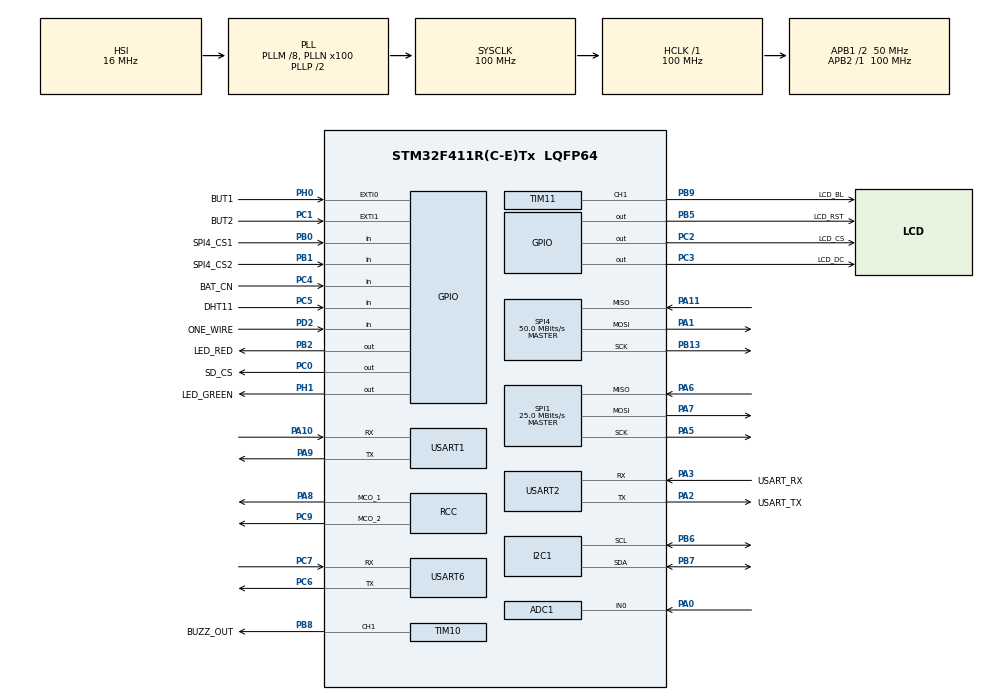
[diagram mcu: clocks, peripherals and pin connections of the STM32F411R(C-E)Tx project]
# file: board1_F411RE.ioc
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ADC1.Channel-0\#ChannelRegularConversion=ADC_CHANNEL_0
ADC1.NbrOfConversionFlag=1
ADC1.Rank-0\#ChannelRegularConversion=1
ADC1.SamplingTime-0\#ChannelRegularConversion=ADC_SAMPLETIME_3CYCLES
ADC1.master=1
FATFS._USE_FIND=1
FATFS._USE_LABEL=1
Mcu.Family=STM32F4
Mcu.Name=STM32F411R(C-E)Tx
Mcu.Package=LQFP64
NVIC.EXTI0_IRQn=true\:0\:0\:false\:false\:true\:true\:true
NVIC.EXTI1_IRQn=true\:0\:0\:false\:false\:true\:true\:true
NVIC.PriorityGroup=NVIC_PRIORITYGROUP_0
NVIC.RTC_Alarm_IRQn=true\:0\:0\:false\:false\:true\:true\:true
NVIC.RTC_WKUP_IRQn=true\:0\:0\:false\:false\:true\:true\:true
NVIC.USART2_IRQn=true\:0\:0\:false\:false\:true\:true\:true
PA0-WKUP.Signal=ADCx_IN0
PA1.Mode=Full_Duplex_Master
PA1.Signal=SPI4_MOSI
PA10.Mode=Asynchronous
PA10.Signal=USART1_RX
PA11.Mode=Full_Duplex_Master
PA11.Signal=SPI4_MISO
PA13.GPIO_Label=TMS
PA13.Mode=Serial_Wire
PA13.Signal=SYS_JTMS-SWDIO
PA14.GPIO_Label=TCK
PA14.Mode=Serial_Wire
PA14.Signal=SYS_JTCK-SWCLK
PA2.GPIO_Label=USART_TX
PA2.Mode=Asynchronous
PA2.Signal=USART2_TX
PA3.GPIO_Label=USART_RX
PA3.Mode=Asynchronous
PA3.Signal=USART2_RX
PA5.Mode=Full_Duplex_Master
PA5.Signal=SPI1_SCK
PA6.Mode=Full_Duplex_Master
PA6.Signal=SPI1_MISO
PA7.Mode=Full_Duplex_Master
PA7.Signal=SPI1_MOSI
PA8.Mode=Clock-out-1
PA8.Signal=RCC_MCO_1
PA9.Mode=Asynchronous
PA9.Signal=USART1_TX
PB0.GPIO_Label=SPI4_CS1
PB0.Signal=GPIO_Input
PB1.GPIO_Label=SPI4_CS2
PB1.Signal=GPIO_Input
PB13.Mode=Full_Duplex_Master
PB13.Signal=SPI4_SCK
PB2.GPIO_Label=LED_RED
PB2.Signal=GPIO_Output
PB3.GPIO_Label=SWO
PB3.Signal=SYS_JTDO-SWO
PB5.GPIO_Label=LCD_RST
PB5.PinState=GPIO_PIN_RESET
PB5.Signal=GPIO_Output
PB6.Mode=I2C
PB6.Signal=I2C1_SCL
PB7.Mode=I2C
PB7.Signal=I2C1_SDA
PB8.GPIO_Label=BUZZ_OUT
PB8.Signal=S_TIM10_CH1
PB9.GPIO_Label=LCD_BL
PB9.Signal=S_TIM11_CH1
PC0.GPIO_Label=SD_CS
PC0.GPIO_Speed=GPIO_SPEED_FREQ_MEDIUM
PC0.PinState=GPIO_PIN_SET
PC0.Signal=GPIO_Output
PC1.GPIO_Label=BUT2
PC1.GPIO_ModeDefaultEXTI=GPIO_MODE_IT_FALLING
PC1.GPIO_PuPd=GPIO_PULLUP
PC1.Signal=GPXTI1
PC14-OSC32_IN.Mode=LSE-External-Oscillator
PC14-OSC32_IN.Signal=RCC_OSC32_IN
PC15-OSC32_OUT.Mode=LSE-External-Oscillator
PC15-OSC32_OUT.Signal=RCC_OSC32_OUT
PC2.GPIO_Label=LCD_CS
PC2.GPIO_Speed=GPIO_SPEED_FREQ_MEDIUM
PC2.PinState=GPIO_PIN_SET
PC2.Signal=GPIO_Output
PC3.GPIO_Label=LCD_DC
PC3.GPIO_Speed=GPIO_SPEED_FREQ_MEDIUM
PC3.Signal=GPIO_Output
PC4.GPIO_Label=BAT_CN
PC4.GPIO_PuPd=GPIO_PULLUP
PC4.Signal=GPIO_Input
PC5.GPIO_Label=DHT11
PC5.Signal=GPIO_Input
PC6.Mode=Asynchronous
PC6.Signal=USART6_TX
PC7.Mode=Asynchronous
PC7.Signal=USART6_RX
PC9.Mode=Clock-out-2
PC9.Signal=RCC_MCO_2
PD2.GPIO_Label=ONE_WIRE
PD2.GPIO_PuPd=GPIO_NOPULL
PD2.Signal=GPIO_Input
PH0\ -\ OSC_IN.GPIO_Label=BUT1
PH0\ -\ OSC_IN.GPIO_ModeDefaultEXTI=GPIO_MODE_IT_FALLING
PH0\ -\ OSC_IN.GPIO_PuPd=GPIO_PULLUP
PH0\ -\ OSC_IN.Signal=GPXTI0
PH1\ -\ OSC_OUT.GPIO_Label=LED_GREEN
PH1\ -\ OSC_OUT.Signal=GPIO_Output
ProjectManager.HeapSize=0x200
ProjectManager.StackSize=0x400
ProjectManager.TargetToolchain=STM32CubeIDE
RCC.48MHZClocksFreq_Value=50000000
RCC.AHBFreq_Value=100000000
RCC.APB1CLKDivider=RCC_HCLK_DIV2
RCC.APB1Freq_Value=50000000
RCC.APB1TimFreq_Value=100000000
RCC.APB2Freq_Value=100000000
RCC.APB2TimFreq_Value=100000000
RCC.CortexFreq_Value=100000000
RCC.FLatency-AdvancedSettings=FLASH_LATENCY_3
RCC.HCLKFreq_Value=100000000
RCC.HSE_VALUE=8000000
RCC.HSI_VALUE=16000000
RCC.PLLM=8
RCC.PLLN=100
RCC.RCC_MCO1Source=RCC_MCO1SOURCE_LSE
RCC.RCC_MCODiv2=RCC_MCODIV_5
RCC.RCC_RTC_Clock_Source=RCC_RTCCLKSOURCE_LSE
RCC.RCC_RTC_Clock_SourceVirtual=RCC_RTCCLKSOURCE_LSE
RCC.SYSCLKFreq_VALUE=100000000
RCC.SYSCLKSource=RCC_SYSCLKSOURCE_PLLCLK
RCC.VCOOutputFreq_Value=200000000
RTC.Alarm=RTC_ALARM_A
RTC.Alarm_B=RTC_ALARM_B
RTC.Minutes_B=0
RTC.WakeUpClock=RTC_WAKEUPCLOCK_CK_SPRE_16BITS
RTC.WakeUpCounter=60
SH.ADCx_IN0.0=ADC1_IN0,IN0
SH.S_TIM10_CH1.0=TIM10_CH1,PWM Generation1 CH1
SH.S_TIM11_CH1.0=TIM11_CH1,PWM Generation1 CH1
SPI1.BaudRatePrescaler=SPI_BAUDRATEPRESCALER_4
SPI1.CalculateBaudRate=25.0 MBits/s
SPI1.Direction=SPI_DIRECTION_2LINES
SPI1.Mode=SPI_MODE_MASTER
SPI1.VirtualType=VM_MASTER
SPI4.CalculateBaudRate=50.0 MBits/s
SPI4.Direction=SPI_DIRECTION_2LINES
SPI4.Mode=SPI_MODE_MASTER
SPI4.VirtualType=VM_MASTER
TIM10.AutoReloadPreload=TIM_AUTORELOAD_PRELOAD_ENABLE
TIM10.Channel=TIM_CHANNEL_1
TIM10.OCFastMode_PWM=TIM_OCFAST_DISABLE
TIM10.OCMode_PWM=TIM_OCMODE_PWM1
TIM10.Period=100
TIM10.Prescaler=1000
TIM10.Pulse=50
TIM11.AutoReloadPreload=TIM_AUTORELOAD_PRELOAD_ENABLE
TIM11.Channel=TIM_CHANNEL_1
TIM11.Period=100
TIM11.Prescaler=10000
TIM11.Pulse=101
USART1.VirtualMode=VM_ASYNC
USART2.VirtualMode=VM_ASYNC
USART6.VirtualMode=VM_ASYNC
VP_FATFS_VS_Generic.Mode=User_defined
VP_LIBJPEG_VS_JPEGLIB.Mode=Enabled
VP_RTC_VS_RTC_Activate.Mode=RTC_Enabled
VP_RTC_VS_RTC_Alarm_A_Intern.Mode=Alarm A
VP_RTC_VS_RTC_Alarm_B_Intern.Mode=Alarm B
VP_RTC_VS_RTC_Calendar.Mode=RTC_Calendar
VP_RTC_VS_RTC_WakeUp_intern.Mode=WakeUp
VP_TIM10_VS_ClockSourceINT.Mode=Enable_Timer
VP_TIM11_VS_ClockSourceINT.Mode=Enable_Timer
board=NUCLEO-F411RE

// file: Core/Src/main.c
/* USER CODE BEGIN Header */
/**
  ******************************************************************************
  * @file           : main.c
  * @brief          : Main program body
  ******************************************************************************
  * @attention
  *
  * <h2><center>&copy; Copyright (c) 2019 STMicroelectronics.
  * All rights reserved.</center></h2>
  *
  * This software component is licensed by ST under BSD 3-Clause license,
  * the "License"; You may not use this file except in compliance with the
  * License. You may obtain a copy of the License at:
  *                        opensource.org/licenses/BSD-3-Clause
  *
  ******************************************************************************
  */
/* USER CODE END Header */

#include "main.h"
#include "fatfs.h"
#include "libjpeg.h"

/* USER CODE BEGIN Includes */
#include "user_main.h"
/* USER CODE END Includes */

ADC_HandleTypeDef hadc1;

I2C_HandleTypeDef hi2c1;

RTC_HandleTypeDef hrtc;

SPI_HandleTypeDef hspi1;
SPI_HandleTypeDef hspi4;

TIM_HandleTypeDef htim10;
TIM_HandleTypeDef htim11;

UART_HandleTypeDef huart1;
UART_HandleTypeDef huart2;
UART_HandleTypeDef huart6;

void SystemClock_Config(void);
static void MX_GPIO_Init(void);
static void MX_USART2_UART_Init(void);
static void MX_ADC1_Init(void);
static void MX_I2C1_Init(void);
static void MX_RTC_Init(void);
static void MX_SPI1_Init(void);
static void MX_SPI4_Init(void);
static void MX_TIM10_Init(void);
static void MX_USART1_UART_Init(void);
static void MX_USART6_UART_Init(void);
static void MX_TIM11_Init(void);

int main(void)
{

  /* MCU Configuration--------------------------------------------------------*/

  /* Reset of all peripherals, Initializes the Flash interface and the Systick. */
  HAL_Init();

  /* Configure the system clock */
  SystemClock_Config();

  /* Initialize all configured peripherals */
  MX_GPIO_Init();
  MX_USART2_UART_Init();
  MX_ADC1_Init();
  MX_I2C1_Init();
  MX_RTC_Init();
  MX_SPI1_Init();
  MX_SPI4_Init();
  MX_TIM10_Init();
  MX_USART1_UART_Init();
  MX_USART6_UART_Init();
  MX_TIM11_Init();
  MX_FATFS_Init();
  MX_LIBJPEG_Init();

  /* Infinite loop */
  /* USER CODE BEGIN WHILE */
  main_init();
  while (1)
  {
	  main_loop();
    /* USER CODE END WHILE */

  }
}

void SystemClock_Config(void)
{
  RCC_OscInitTypeDef RCC_OscInitStruct = {0};
  RCC_ClkInitTypeDef RCC_ClkInitStruct = {0};
  RCC_PeriphCLKInitTypeDef PeriphClkInitStruct = {0};

  /** Configure the main internal regulator output voltage
  */
  __HAL_RCC_PWR_CLK_ENABLE();
  __HAL_PWR_VOLTAGESCALING_CONFIG(PWR_REGULATOR_VOLTAGE_SCALE1);
  /** Initializes the CPU, AHB and APB busses clocks
  */
  RCC_OscInitStruct.OscillatorType = RCC_OSCILLATORTYPE_HSI|RCC_OSCILLATORTYPE_LSE;
  RCC_OscInitStruct.LSEState = RCC_LSE_ON;
  RCC_OscInitStruct.HSIState = RCC_HSI_ON;
  RCC_OscInitStruct.HSICalibrationValue = RCC_HSICALIBRATION_DEFAULT;
  RCC_OscInitStruct.PLL.PLLState = RCC_PLL_ON;
  RCC_OscInitStruct.PLL.PLLSource = RCC_PLLSOURCE_HSI;
  RCC_OscInitStruct.PLL.PLLM = 8;
  RCC_OscInitStruct.PLL.PLLN = 100;
  RCC_OscInitStruct.PLL.PLLP = RCC_PLLP_DIV2;
  RCC_OscInitStruct.PLL.PLLQ = 4;
  if (HAL_RCC_OscConfig(&RCC_OscInitStruct) != HAL_OK)
  {
    Error_Handler();
  }
  /** Initializes the CPU, AHB and APB busses clocks
  */
  RCC_ClkInitStruct.ClockType = RCC_CLOCKTYPE_HCLK|RCC_CLOCKTYPE_SYSCLK
                              |RCC_CLOCKTYPE_PCLK1|RCC_CLOCKTYPE_PCLK2;
  RCC_ClkInitStruct.SYSCLKSource = RCC_SYSCLKSOURCE_PLLCLK;
  RCC_ClkInitStruct.AHBCLKDivider = RCC_SYSCLK_DIV1;
  RCC_ClkInitStruct.APB1CLKDivider = RCC_HCLK_DIV2;
  RCC_ClkInitStruct.APB2CLKDivider = RCC_HCLK_DIV1;

  if (HAL_RCC_ClockConfig(&RCC_ClkInitStruct, FLASH_LATENCY_3) != HAL_OK)
  {
    Error_Handler();
  }
  PeriphClkInitStruct.PeriphClockSelection = RCC_PERIPHCLK_RTC;
  PeriphClkInitStruct.RTCClockSelection = RCC_RTCCLKSOURCE_LSE;
  if (HAL_RCCEx_PeriphCLKConfig(&PeriphClkInitStruct) != HAL_OK)
  {
    Error_Handler();
  }
  HAL_RCC_MCOConfig(RCC_MCO1, RCC_MCO1SOURCE_LSE, RCC_MCODIV_1);
  HAL_RCC_MCOConfig(RCC_MCO2, RCC_MCO2SOURCE_SYSCLK, RCC_MCODIV_5);
}

static void MX_ADC1_Init(void)
{

  ADC_ChannelConfTypeDef sConfig = {0};

  /** Configure the global features of the ADC (Clock, Resolution, Data Alignment and number of conversion)
  */
  hadc1.Instance = ADC1;
  hadc1.Init.ClockPrescaler = ADC_CLOCK_SYNC_PCLK_DIV4;
  hadc1.Init.Resolution = ADC_RESOLUTION_12B;
  hadc1.Init.ScanConvMode = DISABLE;
  hadc1.Init.ContinuousConvMode = DISABLE;
  hadc1.Init.DiscontinuousConvMode = DISABLE;
  hadc1.Init.ExternalTrigConvEdge = ADC_EXTERNALTRIGCONVEDGE_NONE;
  hadc1.Init.ExternalTrigConv = ADC_SOFTWARE_START;
  hadc1.Init.DataAlign = ADC_DATAALIGN_RIGHT;
  hadc1.Init.NbrOfConversion = 1;
  hadc1.Init.DMAContinuousRequests = DISABLE;
  hadc1.Init.EOCSelection = ADC_EOC_SINGLE_CONV;
  if (HAL_ADC_Init(&hadc1) != HAL_OK)
  {
    Error_Handler();
  }
  /** Configure for the selected ADC regular channel its corresponding rank in the sequencer and its sample time.
  */
  sConfig.Channel = ADC_CHANNEL_0;
  sConfig.Rank = 1;
  sConfig.SamplingTime = ADC_SAMPLETIME_3CYCLES;
  if (HAL_ADC_ConfigChannel(&hadc1, &sConfig) != HAL_OK)
  {
    Error_Handler();
  }

}

static void MX_I2C1_Init(void)
{

  hi2c1.Instance = I2C1;
  hi2c1.Init.ClockSpeed = 100000;
  hi2c1.Init.DutyCycle = I2C_DUTYCYCLE_2;
  hi2c1.Init.OwnAddress1 = 0;
  hi2c1.Init.AddressingMode = I2C_ADDRESSINGMODE_7BIT;
  hi2c1.Init.DualAddressMode = I2C_DUALADDRESS_DISABLE;
  hi2c1.Init.OwnAddress2 = 0;
  hi2c1.Init.GeneralCallMode = I2C_GENERALCALL_DISABLE;
  hi2c1.Init.NoStretchMode = I2C_NOSTRETCH_DISABLE;
  if (HAL_I2C_Init(&hi2c1) != HAL_OK)
  {
    Error_Handler();
  }

}

static void MX_RTC_Init(void)
{

  RTC_TimeTypeDef sTime = {0};
  RTC_DateTypeDef sDate = {0};
  RTC_AlarmTypeDef sAlarm = {0};

  /** Initialize RTC Only
  */
  hrtc.Instance = RTC;
  hrtc.Init.HourFormat = RTC_HOURFORMAT_24;
  hrtc.Init.AsynchPrediv = 127;
  hrtc.Init.SynchPrediv = 255;
  hrtc.Init.OutPut = RTC_OUTPUT_DISABLE;
  hrtc.Init.OutPutPolarity = RTC_OUTPUT_POLARITY_HIGH;
  hrtc.Init.OutPutType = RTC_OUTPUT_TYPE_OPENDRAIN;
  if (HAL_RTC_Init(&hrtc) != HAL_OK)
  {
    Error_Handler();
  }

  /* USER CODE BEGIN Check_RTC_BKUP */
  //Check if RTC already initialized
  if (HAL_RTC_GetDate(&hrtc,&sDate,RTC_FORMAT_BIN) == HAL_OK){
		if(sDate.Year!=0)
			goto RTC_isok; //RTC already initialized.
  }
  else{
	  Error_Handler();
  }
  /* USER CODE END Check_RTC_BKUP */

  /** Initialize RTC and set the Time and Date
  */
  sTime.Hours = 0x0;
  sTime.Minutes = 0x0;
  sTime.Seconds = 0x0;
  sTime.DayLightSaving = RTC_DAYLIGHTSAVING_NONE;
  sTime.StoreOperation = RTC_STOREOPERATION_RESET;
  if (HAL_RTC_SetTime(&hrtc, &sTime, RTC_FORMAT_BCD) != HAL_OK)
  {
    Error_Handler();
  }
  sDate.WeekDay = RTC_WEEKDAY_MONDAY;
  sDate.Month = RTC_MONTH_JANUARY;
  sDate.Date = 0x1;
  sDate.Year = 0x0;

  if (HAL_RTC_SetDate(&hrtc, &sDate, RTC_FORMAT_BCD) != HAL_OK)
  {
    Error_Handler();
  }
  /** Enable the Alarm A
  */
  sAlarm.AlarmTime.Hours = 0x0;
  sAlarm.AlarmTime.Minutes = 0x0;
  sAlarm.AlarmTime.Seconds = 0x0;
  sAlarm.AlarmTime.SubSeconds = 0x0;
  sAlarm.AlarmTime.DayLightSaving = RTC_DAYLIGHTSAVING_NONE;
  sAlarm.AlarmTime.StoreOperation = RTC_STOREOPERATION_RESET;
  sAlarm.AlarmMask = RTC_ALARMMASK_NONE;
  sAlarm.AlarmSubSecondMask = RTC_ALARMSUBSECONDMASK_ALL;
  sAlarm.AlarmDateWeekDaySel = RTC_ALARMDATEWEEKDAYSEL_DATE;
  sAlarm.AlarmDateWeekDay = 0x1;
  sAlarm.Alarm = RTC_ALARM_A;
  if (HAL_RTC_SetAlarm_IT(&hrtc, &sAlarm, RTC_FORMAT_BCD) != HAL_OK)
  {
    Error_Handler();
  }
  /** Enable the Alarm B
  */
  sAlarm.AlarmDateWeekDay = 0x1;
  sAlarm.Alarm = RTC_ALARM_B;
  if (HAL_RTC_SetAlarm_IT(&hrtc, &sAlarm, RTC_FORMAT_BCD) != HAL_OK)
  {
    Error_Handler();
  }
  /** Enable the WakeUp
  */
  if (HAL_RTCEx_SetWakeUpTimer_IT(&hrtc, 60, RTC_WAKEUPCLOCK_CK_SPRE_16BITS) != HAL_OK)
  {
    Error_Handler();
  }
  /* USER CODE BEGIN RTC_Init 2 */
  return;
  RTC_isok:
  // RTC already programmed.
  // Enable the WakeUp : 1min WakeUp Timer for get and save temperature!
  if (HAL_RTCEx_SetWakeUpTimer_IT(&hrtc, 60, RTC_WAKEUPCLOCK_CK_SPRE_16BITS) != HAL_OK)
  {
    Error_Handler();
  }
  /* USER CODE END RTC_Init 2 */

}

static void MX_SPI1_Init(void)
{

  /* SPI1 parameter configuration*/
  hspi1.Instance = SPI1;
  hspi1.Init.Mode = SPI_MODE_MASTER;
  hspi1.Init.Direction = SPI_DIRECTION_2LINES;
  hspi1.Init.DataSize = SPI_DATASIZE_8BIT;
  hspi1.Init.CLKPolarity = SPI_POLARITY_LOW;
  hspi1.Init.CLKPhase = SPI_PHASE_1EDGE;
  hspi1.Init.NSS = SPI_NSS_SOFT;
  hspi1.Init.BaudRatePrescaler = SPI_BAUDRATEPRESCALER_4;
  hspi1.Init.FirstBit = SPI_FIRSTBIT_MSB;
  hspi1.Init.TIMode = SPI_TIMODE_DISABLE;
  hspi1.Init.CRCCalculation = SPI_CRCCALCULATION_DISABLE;
  hspi1.Init.CRCPolynomial = 10;
  if (HAL_SPI_Init(&hspi1) != HAL_OK)
  {
    Error_Handler();
  }

}

static void MX_SPI4_Init(void)
{

  /* SPI4 parameter configuration*/
  hspi4.Instance = SPI4;
  hspi4.Init.Mode = SPI_MODE_MASTER;
  hspi4.Init.Direction = SPI_DIRECTION_2LINES;
  hspi4.Init.DataSize = SPI_DATASIZE_8BIT;
  hspi4.Init.CLKPolarity = SPI_POLARITY_LOW;
  hspi4.Init.CLKPhase = SPI_PHASE_1EDGE;
  hspi4.Init.NSS = SPI_NSS_SOFT;
  hspi4.Init.BaudRatePrescaler = SPI_BAUDRATEPRESCALER_2;
  hspi4.Init.FirstBit = SPI_FIRSTBIT_MSB;
  hspi4.Init.TIMode = SPI_TIMODE_DISABLE;
  hspi4.Init.CRCCalculation = SPI_CRCCALCULATION_DISABLE;
  hspi4.Init.CRCPolynomial = 10;
  if (HAL_SPI_Init(&hspi4) != HAL_OK)
  {
    Error_Handler();
  }

}

static void MX_TIM10_Init(void)
{

  TIM_OC_InitTypeDef sConfigOC = {0};

  htim10.Instance = TIM10;
  htim10.Init.Prescaler = 1000;
  htim10.Init.CounterMode = TIM_COUNTERMODE_UP;
  htim10.Init.Period = 100;
  htim10.Init.ClockDivision = TIM_CLOCKDIVISION_DIV1;
  htim10.Init.AutoReloadPreload = TIM_AUTORELOAD_PRELOAD_ENABLE;
  if (HAL_TIM_Base_Init(&htim10) != HAL_OK)
  {
    Error_Handler();
  }
  if (HAL_TIM_PWM_Init(&htim10) != HAL_OK)
  {
    Error_Handler();
  }
  sConfigOC.OCMode = TIM_OCMODE_PWM1;
  sConfigOC.Pulse = 50;
  sConfigOC.OCPolarity = TIM_OCPOLARITY_HIGH;
  sConfigOC.OCFastMode = TIM_OCFAST_DISABLE;
  if (HAL_TIM_PWM_ConfigChannel(&htim10, &sConfigOC, TIM_CHANNEL_1) != HAL_OK)
  {
    Error_Handler();
  }
  HAL_TIM_MspPostInit(&htim10);

}

static void MX_TIM11_Init(void)
{

  TIM_OC_InitTypeDef sConfigOC = {0};

  htim11.Instance = TIM11;
  htim11.Init.Prescaler = 10000;
  htim11.Init.CounterMode = TIM_COUNTERMODE_UP;
  htim11.Init.Period = 100;
  htim11.Init.ClockDivision = TIM_CLOCKDIVISION_DIV1;
  htim11.Init.AutoReloadPreload = TIM_AUTORELOAD_PRELOAD_ENABLE;
  if (HAL_TIM_Base_Init(&htim11) != HAL_OK)
  {
    Error_Handler();
  }
  if (HAL_TIM_PWM_Init(&htim11) != HAL_OK)
  {
    Error_Handler();
  }
  sConfigOC.OCMode = TIM_OCMODE_PWM1;
  sConfigOC.Pulse = 101;
  sConfigOC.OCPolarity = TIM_OCPOLARITY_HIGH;
  sConfigOC.OCFastMode = TIM_OCFAST_DISABLE;
  if (HAL_TIM_PWM_ConfigChannel(&htim11, &sConfigOC, TIM_CHANNEL_1) != HAL_OK)
  {
    Error_Handler();
  }
  HAL_TIM_MspPostInit(&htim11);

}

static void MX_USART1_UART_Init(void)
{

  huart1.Instance = USART1;
  huart1.Init.BaudRate = 115200;
  huart1.Init.WordLength = UART_WORDLENGTH_8B;
  huart1.Init.StopBits = UART_STOPBITS_1;
  huart1.Init.Parity = UART_PARITY_NONE;
  huart1.Init.Mode = UART_MODE_TX_RX;
  huart1.Init.HwFlowCtl = UART_HWCONTROL_NONE;
  huart1.Init.OverSampling = UART_OVERSAMPLING_16;
  if (HAL_UART_Init(&huart1) != HAL_OK)
  {
    Error_Handler();
  }

}

static void MX_USART2_UART_Init(void)
{

  huart2.Instance = USART2;
  huart2.Init.BaudRate = 115200;
  huart2.Init.WordLength = UART_WORDLENGTH_8B;
  huart2.Init.StopBits = UART_STOPBITS_1;
  huart2.Init.Parity = UART_PARITY_NONE;
  huart2.Init.Mode = UART_MODE_TX_RX;
  huart2.Init.HwFlowCtl = UART_HWCONTROL_NONE;
  huart2.Init.OverSampling = UART_OVERSAMPLING_16;
  if (HAL_UART_Init(&huart2) != HAL_OK)
  {
    Error_Handler();
  }
  /* USER CODE BEGIN USART2_Init 2 */
  __HAL_UART_ENABLE_IT(&huart2,UART_IT_RXNE);
  /* USER CODE END USART2_Init 2 */

}

static void MX_USART6_UART_Init(void)
{

  huart6.Instance = USART6;
  huart6.Init.BaudRate = 115200;
  huart6.Init.WordLength = UART_WORDLENGTH_8B;
  huart6.Init.StopBits = UART_STOPBITS_1;
  huart6.Init.Parity = UART_PARITY_NONE;
  huart6.Init.Mode = UART_MODE_TX_RX;
  huart6.Init.HwFlowCtl = UART_HWCONTROL_NONE;
  huart6.Init.OverSampling = UART_OVERSAMPLING_16;
  if (HAL_UART_Init(&huart6) != HAL_OK)
  {
    Error_Handler();
  }

}

static void MX_GPIO_Init(void)
{
  GPIO_InitTypeDef GPIO_InitStruct = {0};

  /* GPIO Ports Clock Enable */
  __HAL_RCC_GPIOC_CLK_ENABLE();
  __HAL_RCC_GPIOH_CLK_ENABLE();
  __HAL_RCC_GPIOA_CLK_ENABLE();
  __HAL_RCC_GPIOB_CLK_ENABLE();
  __HAL_RCC_GPIOD_CLK_ENABLE();

  /*Configure GPIO pin Output Level */
  HAL_GPIO_WritePin(LED_GREEN_GPIO_Port, LED_GREEN_Pin, GPIO_PIN_RESET);

  /*Configure GPIO pin Output Level */
  HAL_GPIO_WritePin(GPIOC, SD_CS_Pin|LCD_CS_Pin, GPIO_PIN_SET);

  /*Configure GPIO pin Output Level */
  HAL_GPIO_WritePin(LCD_DC_GPIO_Port, LCD_DC_Pin, GPIO_PIN_RESET);

  /*Configure GPIO pin Output Level */
  HAL_GPIO_WritePin(GPIOB, LED_RED_Pin|LCD_RST_Pin, GPIO_PIN_RESET);

  /*Configure GPIO pin : BUT1_Pin */
  GPIO_InitStruct.Pin = BUT1_Pin;
  GPIO_InitStruct.Mode = GPIO_MODE_IT_FALLING;
  GPIO_InitStruct.Pull = GPIO_PULLUP;
  HAL_GPIO_Init(BUT1_GPIO_Port, &GPIO_InitStruct);

  /*Configure GPIO pin : LED_GREEN_Pin */
  GPIO_InitStruct.Pin = LED_GREEN_Pin;
  GPIO_InitStruct.Mode = GPIO_MODE_OUTPUT_PP;
  GPIO_InitStruct.Pull = GPIO_NOPULL;
  GPIO_InitStruct.Speed = GPIO_SPEED_FREQ_LOW;
  HAL_GPIO_Init(LED_GREEN_GPIO_Port, &GPIO_InitStruct);

  /*Configure GPIO pins : SD_CS_Pin LCD_CS_Pin LCD_DC_Pin */
  GPIO_InitStruct.Pin = SD_CS_Pin|LCD_CS_Pin|LCD_DC_Pin;
  GPIO_InitStruct.Mode = GPIO_MODE_OUTPUT_PP;
  GPIO_InitStruct.Pull = GPIO_NOPULL;
  GPIO_InitStruct.Speed = GPIO_SPEED_FREQ_MEDIUM;
  HAL_GPIO_Init(GPIOC, &GPIO_InitStruct);

  /*Configure GPIO pin : BUT2_Pin */
  GPIO_InitStruct.Pin = BUT2_Pin;
  GPIO_InitStruct.Mode = GPIO_MODE_IT_FALLING;
  GPIO_InitStruct.Pull = GPIO_PULLUP;
  HAL_GPIO_Init(BUT2_GPIO_Port, &GPIO_InitStruct);

  /*Configure GPIO pin : BAT_CN_Pin */
  GPIO_InitStruct.Pin = BAT_CN_Pin;
  GPIO_InitStruct.Mode = GPIO_MODE_INPUT;
  GPIO_InitStruct.Pull = GPIO_PULLUP;
  HAL_GPIO_Init(BAT_CN_GPIO_Port, &GPIO_InitStruct);

  /*Configure GPIO pin : DHT11_Pin */
  GPIO_InitStruct.Pin = DHT11_Pin;
  GPIO_InitStruct.Mode = GPIO_MODE_INPUT;
  GPIO_InitStruct.Pull = GPIO_NOPULL;
  HAL_GPIO_Init(DHT11_GPIO_Port, &GPIO_InitStruct);

  /*Configure GPIO pins : SPI4_CS1_Pin SPI4_CS2_Pin */
  GPIO_InitStruct.Pin = SPI4_CS1_Pin|SPI4_CS2_Pin;
  GPIO_InitStruct.Mode = GPIO_MODE_INPUT;
  GPIO_InitStruct.Pull = GPIO_NOPULL;
  HAL_GPIO_Init(GPIOB, &GPIO_InitStruct);

  /*Configure GPIO pins : LED_RED_Pin LCD_RST_Pin */
  GPIO_InitStruct.Pin = LED_RED_Pin|LCD_RST_Pin;
  GPIO_InitStruct.Mode = GPIO_MODE_OUTPUT_PP;
  GPIO_InitStruct.Pull = GPIO_NOPULL;
  GPIO_InitStruct.Speed = GPIO_SPEED_FREQ_LOW;
  HAL_GPIO_Init(GPIOB, &GPIO_InitStruct);

  /*Configure GPIO pin : PC9 */
  GPIO_InitStruct.Pin = GPIO_PIN_9;
  GPIO_InitStruct.Mode = GPIO_MODE_AF_PP;
  GPIO_InitStruct.Pull = GPIO_NOPULL;
  GPIO_InitStruct.Speed = GPIO_SPEED_FREQ_LOW;
  GPIO_InitStruct.Alternate = GPIO_AF0_MCO;
  HAL_GPIO_Init(GPIOC, &GPIO_InitStruct);

  /*Configure GPIO pin : PA8 */
  GPIO_InitStruct.Pin = GPIO_PIN_8;
  GPIO_InitStruct.Mode = GPIO_MODE_AF_PP;
  GPIO_InitStruct.Pull = GPIO_NOPULL;
  GPIO_InitStruct.Speed = GPIO_SPEED_FREQ_LOW;
  GPIO_InitStruct.Alternate = GPIO_AF0_MCO;
  HAL_GPIO_Init(GPIOA, &GPIO_InitStruct);

  /*Configure GPIO pin : ONE_WIRE_Pin */
  GPIO_InitStruct.Pin = ONE_WIRE_Pin;
  GPIO_InitStruct.Mode = GPIO_MODE_INPUT;
  GPIO_InitStruct.Pull = GPIO_NOPULL;
  HAL_GPIO_Init(ONE_WIRE_GPIO_Port, &GPIO_InitStruct);

  /* EXTI interrupt init*/
  HAL_NVIC_SetPriority(EXTI0_IRQn, 0, 0);
  HAL_NVIC_EnableIRQ(EXTI0_IRQn);

  HAL_NVIC_SetPriority(EXTI1_IRQn, 0, 0);
  HAL_NVIC_EnableIRQ(EXTI1_IRQn);

}

/* USER CODE BEGIN 4 */
int __io_putchar(int ch){
	ITM_SendChar(ch);
	return 0;
}
/* USER CODE END 4 */

void Error_Handler(void)
{
}

/************************ (C) COPYRIGHT STMicroelectronics *****END OF FILE****/
